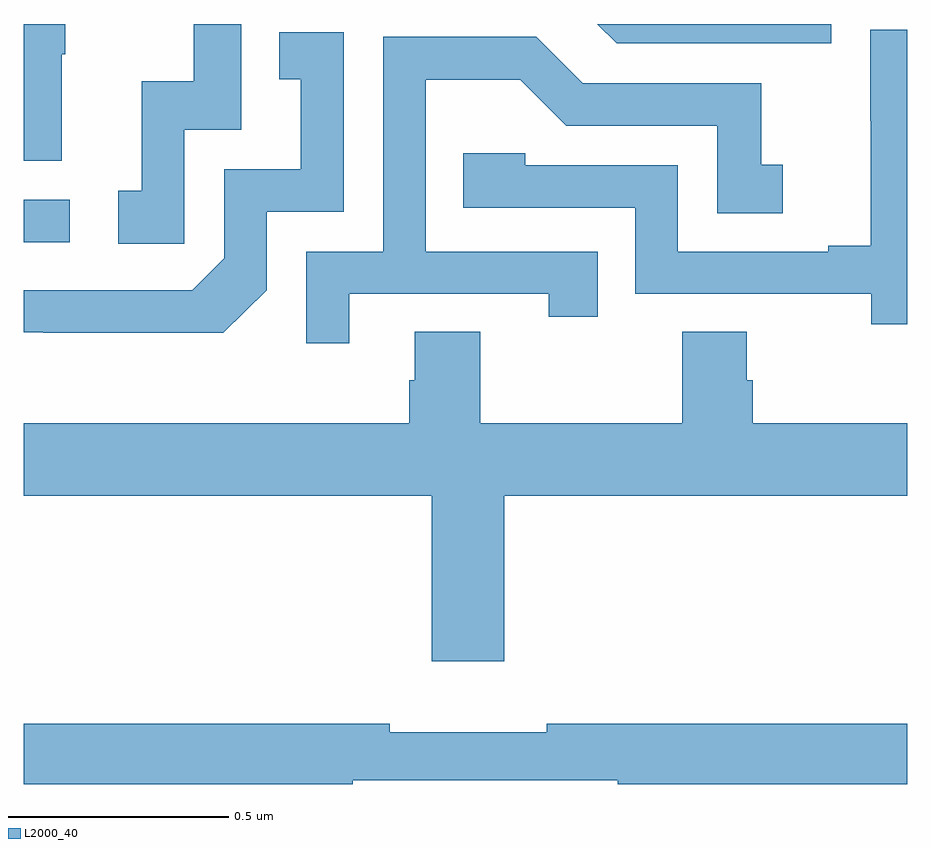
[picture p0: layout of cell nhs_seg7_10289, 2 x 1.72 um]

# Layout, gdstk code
import gdstk
lib = gdstk.Library(unit=1e-6, precision=1e-09)
def R(c, l, rs):  # rectangles x0, y0, x1, y1
    for r in rs: c.add(gdstk.rectangle(r[:2], r[2:], *l))
def P(c, l, *ps):  # polygons
    for p in ps: c.add(gdstk.Polygon(p, *l))
L2000_40 = (2000, 40)

nhs_seg7_10289 = lib.new_cell('nhs_seg7_10289')
R(nhs_seg7_10289, L2000_40, [(248,1018.506,248.104,1018.602)])
P(nhs_seg7_10289, L2000_40, [(248.364,1018.761),(248.493,1018.761),(248.493,1019),(248.385,1019),(248.385,1018.87),(248.267,1018.87),(248.267,1018.623),(248.214,1018.623),(248.214,1018.503),(248.364,1018.503)],
  [(249.828,1019),(249.298,1019),(249.342,1018.956),(249.828,1018.956)],
  [(248.086,1018.931),(248.094,1018.931),(248.094,1019),(248,1019),(248,1018.691),(248.086,1018.691)],
  [(250,1018.987),(249.916,1018.987),(249.916,1018.781),(249.917,1018.781),(249.917,1018.498),(249.821,1018.498),(249.821,1018.485),(249.48,1018.485),(249.48,1018.68),(249.135,1018.68),(249.135,1018.707),(248.995,1018.707),(248.995,1018.584),(249.384,1018.584),(249.384,1018.389),(249.918,1018.389),(249.918,1018.321),(250,1018.321)],
  [(248.55,1018.398),(248.55,1018.575),(248.724,1018.575),(248.724,1018.981),(248.578,1018.981),(248.578,1018.875),(248.627,1018.875),(248.627,1018.671),(248.454,1018.671),(248.454,1018.47),(248.382,1018.398),(248,1018.398),(248,1018.302),(248.044,1018.302),(248.044,1018.301),(248.452,1018.301)],
  [(248.737,1018.389),(249.188,1018.389),(249.188,1018.338),(249.299,1018.338),(249.299,1018.485),(248.91,1018.485),(248.91,1018.874),(249.124,1018.874),(249.228,1018.77),(249.57,1018.77),(249.57,1018.572),(249.718,1018.572),(249.718,1018.681),(249.669,1018.681),(249.669,1018.866),(249.265,1018.866),(249.16,1018.971),(248.814,1018.971),(248.814,1018.485),(248.64,1018.485),(248.64,1018.278),(248.737,1018.278)],
  [(249.088,1017.932),(250,1017.932),(250,1018.096),(249.65,1018.096),(249.65,1018.194),(249.637,1018.194),(249.637,1018.304),(249.49,1018.304),(249.49,1018.096),(249.033,1018.096),(249.033,1018.304),(248.885,1018.304),(248.885,1018.194),(248.873,1018.194),(248.873,1018.096),(248,1018.096),(248,1017.932),(248.924,1017.932),(248.924,1017.558),(249.088,1017.558)],
  [(248.745,1017.288),(249.345,1017.288),(249.345,1017.28),(250,1017.28),(250,1017.416),(249.184,1017.416),(249.184,1017.397),(248.828,1017.397),(248.828,1017.416),(248,1017.416),(248,1017.28),(248.745,1017.28)])

lib.write_gds('nhs_seg7_10289.gds')
